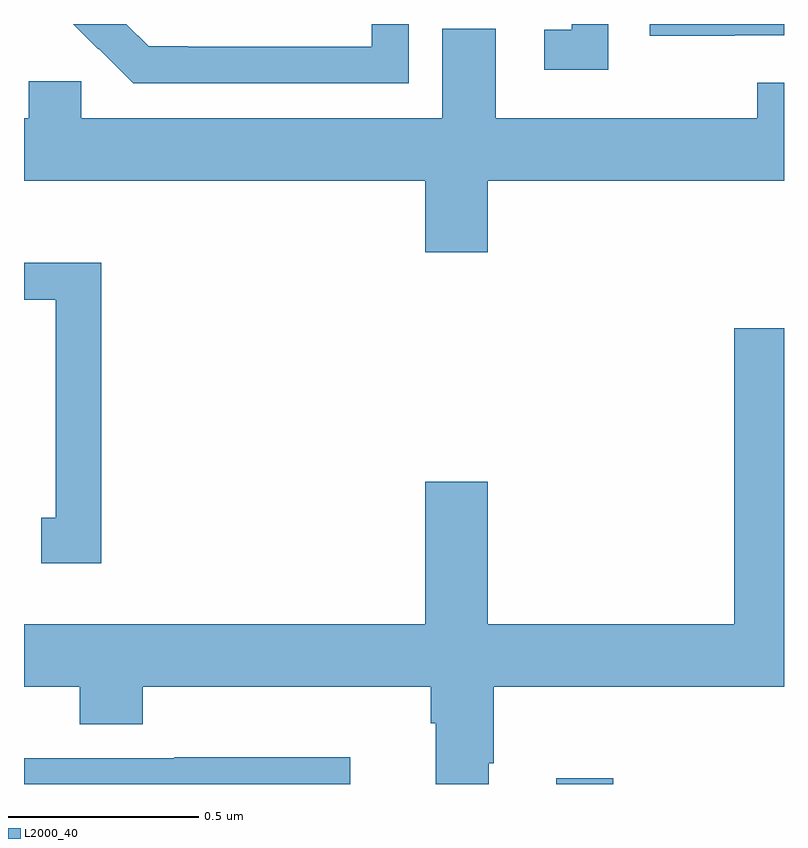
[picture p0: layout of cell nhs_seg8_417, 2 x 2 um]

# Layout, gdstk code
import gdstk
lib = gdstk.Library(unit=1e-6, precision=1e-09)
def R(c, l, rs):  # rectangles x0, y0, x1, y1
    for r in rs: c.add(gdstk.rectangle(r[:2], r[2:], *l))
def P(c, l, *ps):  # polygons
    for p in ps: c.add(gdstk.Polygon(p, *l))
L2000_40 = (2000, 40)

nhs_seg8_417 = lib.new_cell('nhs_seg8_417')
R(nhs_seg8_417, L2000_40, [(117.401,1126.9,117.55,1126.915)])
P(nhs_seg8_417, L2000_40, [(117.87,1128.87),(118,1128.87),(118,1128.9),(117.647,1128.9),(117.647,1128.869),(117.87,1128.869)],
  [(117.012,1128.9),(116.915,1128.9),(116.915,1128.84),(116.431,1128.84),(116.431,1128.841),(116.328,1128.841),(116.269,1128.9),(116.13,1128.9),(116.196,1128.834),(116.197,1128.835),(116.288,1128.744),(117.012,1128.744)],
  [(117.537,1128.9),(117.441,1128.9),(117.441,1128.885),(117.369,1128.885),(117.369,1128.78),(117.537,1128.78)],
  [(117.22,1128.488),(118,1128.488),(118,1128.745),(117.929,1128.745),(117.929,1128.652),(117.241,1128.652),(117.241,1128.888),(117.101,1128.888),(117.101,1128.652),(116.151,1128.652),(116.151,1128.75),(116.012,1128.75),(116.012,1128.652),(116,1128.652),(116,1128.488),(117.056,1128.488),(117.056,1128.3),(117.22,1128.3)],
  [(116.203,1128.272),(116,1128.272),(116,1128.174),(116.084,1128.174),(116.084,1127.601),(116.045,1127.601),(116.045,1127.481),(116.203,1127.481)],
  [(117.223,1126.954),(117.236,1126.954),(117.236,1127.156),(118,1127.156),(118,1128.1),(117.869,1128.1),(117.869,1127.32),(117.22,1127.32),(117.22,1127.695),(117.056,1127.695),(117.056,1127.32),(116,1127.32),(116,1127.156),(116.147,1127.156),(116.147,1127.057),(116.312,1127.057),(116.312,1127.156),(117.071,1127.156),(117.071,1127.06),(117.083,1127.06),(117.083,1126.9),(117.223,1126.9)],
  [(116.859,1126.97),(116.395,1126.97),(116.395,1126.968),(116,1126.968),(116,1126.9),(116.859,1126.9)])

lib.write_gds('nhs_seg8_417.gds')
